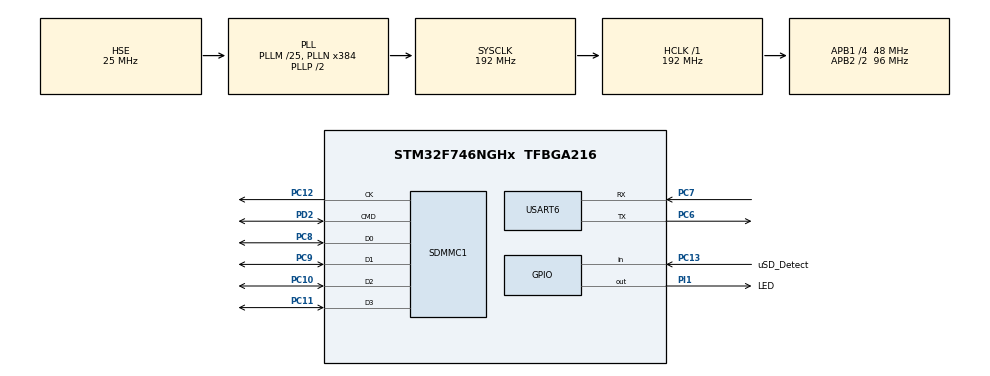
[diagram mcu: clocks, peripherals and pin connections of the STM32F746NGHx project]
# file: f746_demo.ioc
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FATFS.BSP.number=1
FATFS._MAX_SS=4096
FATFS0.BSP.STBoard=false
FATFS0.BSP.api=Unknown
FATFS0.BSP.i2caddr=0
FATFS0.BSP.instance=PC13
FATFS0.BSP.ip=GPIO
FATFS0.BSP.mode=Input
FATFS0.BSP.name=Detect_SDIO
FATFS0.BSP.solution=PC13
Mcu.Family=STM32F7
Mcu.Name=STM32F746NGHx
Mcu.Package=TFBGA216
NVIC.PriorityGroup=NVIC_PRIORITYGROUP_4
NVIC.SDMMC1_IRQn=true\:0\:0\:false\:false\:true\:true\:true
PC10.Mode=SD_4_bits_Wide_bus
PC10.Signal=SDMMC1_D2
PC11.Mode=SD_4_bits_Wide_bus
PC11.Signal=SDMMC1_D3
PC12.Mode=SD_4_bits_Wide_bus
PC12.Signal=SDMMC1_CK
PC13.GPIO_Label=uSD_Detect
PC13.Signal=GPIO_Input
PC6.Mode=Asynchronous
PC6.Signal=USART6_TX
PC7.Mode=Asynchronous
PC7.Signal=USART6_RX
PC8.Mode=SD_4_bits_Wide_bus
PC8.Signal=SDMMC1_D0
PC9.Mode=SD_4_bits_Wide_bus
PC9.Signal=SDMMC1_D1
PD2.Mode=SD_4_bits_Wide_bus
PD2.Signal=SDMMC1_CMD
PH0/OSC_IN.Mode=HSE-External-Oscillator
PH0/OSC_IN.Signal=RCC_OSC_IN
PH1/OSC_OUT.Mode=HSE-External-Oscillator
PH1/OSC_OUT.Signal=RCC_OSC_OUT
PI1.GPIO_Label=LED
PI1.Signal=GPIO_Output
ProjectManager.HeapSize=0x2000
ProjectManager.StackSize=0x4000
ProjectManager.TargetToolchain=MDK-ARM V5.27
RCC.AHBFreq_Value=192000000
RCC.APB1CLKDivider=RCC_HCLK_DIV4
RCC.APB1Freq_Value=48000000
RCC.APB1TimFreq_Value=96000000
RCC.APB2CLKDivider=RCC_HCLK_DIV2
RCC.APB2Freq_Value=96000000
RCC.APB2TimFreq_Value=192000000
RCC.CortexFreq_Value=192000000
RCC.HCLKFreq_Value=192000000
RCC.HSE_VALUE=25000000
RCC.HSI_VALUE=16000000
RCC.LSE_VALUE=32768
RCC.PLL48CLockSelection=RCC_CLK48SOURCE_PLLSAIP
RCC.PLLI2SN=100
RCC.PLLM=25
RCC.PLLN=384
RCC.PLLQ=8
RCC.PLLSAIN=384
RCC.PLLSAIP=RCC_PLLSAIP_DIV8
RCC.PLLSAIR=5
RCC.PLLSAIRDiv=RCC_PLLSAIDIVR_8
RCC.PLLSourceVirtual=RCC_PLLSOURCE_HSE
RCC.SDMMCClockSelection=RCC_SDMMC1CLKSOURCE_CLK48
RCC.SYSCLKFreq_VALUE=192000000
RCC.SYSCLKSource=RCC_SYSCLKSOURCE_PLLCLK
RCC.USBFreq_Value=48000000
RCC.VCOOutputFreq_Value=384000000
SDMMC1.ClockBypass=SDMMC_CLOCK_BYPASS_DISABLE
SDMMC1.ClockDiv=6
USART6.VirtualMode-Asynchronous=VM_ASYNC
VP_FATFS_VS_SDIO.Mode=SDIO
board=STM32F746G-DISCO

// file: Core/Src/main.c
/* USER CODE BEGIN Header */
/**
  ******************************************************************************
  * @file           : main.c
  * @brief          : Main program body
  ******************************************************************************
  * @attention
  *
  * <h2><center>&copy; Copyright (c) 2022 STMicroelectronics.
  * All rights reserved.</center></h2>
  *
  * This software component is licensed by ST under Ultimate Liberty license
  * SLA0044, the "License"; You may not use this file except in compliance with
  * the License. You may obtain a copy of the License at:
  *                             www.st.com/SLA0044
  *
  ******************************************************************************
  */
/* USER CODE END Header */
#include "main.h"
#include "fatfs.h"

/* USER CODE BEGIN PD */
#define LED(x) ((x)? (GPIOI->BSRR=GPIO_BSRR_BS_1) : (GPIOI->BSRR=GPIO_BSRR_BR_1));
/* USER CODE END PD */

SD_HandleTypeDef hsd1;

UART_HandleTypeDef huart6;

/* USER CODE BEGIN PV */
char UART_msg_TX [50]; //буффер сообщений UARTS
/* USER CODE END PV */

void SystemClock_Config(void);
static void MX_GPIO_Init(void);
static void MX_SDMMC1_SD_Init(void);
static void MX_USART6_UART_Init(void);
/* USER CODE BEGIN PFP */
void UART6_SendByte(char );
void UART6_SendString (const char * );
/* USER CODE END PFP */

int main(void)
{

  /* MCU Configuration--------------------------------------------------------*/

  /* Reset of all peripherals, Initializes the Flash interface and the Systick. */
  HAL_Init();

  /* USER CODE BEGIN Init */
	__enable_irq(); //включение всех прерываний
  /* USER CODE END Init */

  /* Configure the system clock */
  SystemClock_Config();

  /* Initialize all configured peripherals */
  MX_GPIO_Init();
  MX_SDMMC1_SD_Init();
  MX_USART6_UART_Init();
  MX_FATFS_Init();
  /* USER CODE BEGIN 2 */
	UART6_SendString ("main programm start\r\n");
  /* USER CODE END 2 */

  /* Infinite loop */
  /* USER CODE BEGIN WHILE */
  while (1)
  {
		LED(1);
		UART6_SendString ("LED_on\r\n");
		HAL_Delay (1000);
		LED(0);
		UART6_SendString ("LED_off\r\n");
		HAL_Delay (1000);
    /* USER CODE END WHILE */

  }
}

void SystemClock_Config(void)
{
  RCC_OscInitTypeDef RCC_OscInitStruct = {0};
  RCC_ClkInitTypeDef RCC_ClkInitStruct = {0};
  RCC_PeriphCLKInitTypeDef PeriphClkInitStruct = {0};

  /** Configure the main internal regulator output voltage
  */
  __HAL_RCC_PWR_CLK_ENABLE();
  __HAL_PWR_VOLTAGESCALING_CONFIG(PWR_REGULATOR_VOLTAGE_SCALE1);
  /** Initializes the RCC Oscillators according to the specified parameters
  * in the RCC_OscInitTypeDef structure.
  */
  RCC_OscInitStruct.OscillatorType = RCC_OSCILLATORTYPE_HSE;
  RCC_OscInitStruct.HSEState = RCC_HSE_ON;
  RCC_OscInitStruct.PLL.PLLState = RCC_PLL_ON;
  RCC_OscInitStruct.PLL.PLLSource = RCC_PLLSOURCE_HSE;
  RCC_OscInitStruct.PLL.PLLM = 25;
  RCC_OscInitStruct.PLL.PLLN = 384;
  RCC_OscInitStruct.PLL.PLLP = RCC_PLLP_DIV2;
  RCC_OscInitStruct.PLL.PLLQ = 8;
  if (HAL_RCC_OscConfig(&RCC_OscInitStruct) != HAL_OK)
  {
    Error_Handler();
  }
  /** Activate the Over-Drive mode
  */
  if (HAL_PWREx_EnableOverDrive() != HAL_OK)
  {
    Error_Handler();
  }
  /** Initializes the CPU, AHB and APB buses clocks
  */
  RCC_ClkInitStruct.ClockType = RCC_CLOCKTYPE_HCLK|RCC_CLOCKTYPE_SYSCLK
                              |RCC_CLOCKTYPE_PCLK1|RCC_CLOCKTYPE_PCLK2;
  RCC_ClkInitStruct.SYSCLKSource = RCC_SYSCLKSOURCE_PLLCLK;
  RCC_ClkInitStruct.AHBCLKDivider = RCC_SYSCLK_DIV1;
  RCC_ClkInitStruct.APB1CLKDivider = RCC_HCLK_DIV4;
  RCC_ClkInitStruct.APB2CLKDivider = RCC_HCLK_DIV2;

  if (HAL_RCC_ClockConfig(&RCC_ClkInitStruct, FLASH_LATENCY_6) != HAL_OK)
  {
    Error_Handler();
  }
  PeriphClkInitStruct.PeriphClockSelection = RCC_PERIPHCLK_USART6|RCC_PERIPHCLK_SDMMC1
                              |RCC_PERIPHCLK_CLK48;
  PeriphClkInitStruct.PLLSAI.PLLSAIN = 384;
  PeriphClkInitStruct.PLLSAI.PLLSAIR = 5;
  PeriphClkInitStruct.PLLSAI.PLLSAIQ = 2;
  PeriphClkInitStruct.PLLSAI.PLLSAIP = RCC_PLLSAIP_DIV8;
  PeriphClkInitStruct.PLLSAIDivQ = 1;
  PeriphClkInitStruct.PLLSAIDivR = RCC_PLLSAIDIVR_8;
  PeriphClkInitStruct.Usart6ClockSelection = RCC_USART6CLKSOURCE_PCLK2;
  PeriphClkInitStruct.Clk48ClockSelection = RCC_CLK48SOURCE_PLLSAIP;
  PeriphClkInitStruct.Sdmmc1ClockSelection = RCC_SDMMC1CLKSOURCE_CLK48;
  if (HAL_RCCEx_PeriphCLKConfig(&PeriphClkInitStruct) != HAL_OK)
  {
    Error_Handler();
  }
}

static void MX_SDMMC1_SD_Init(void)
{

  hsd1.Instance = SDMMC1;
  hsd1.Init.ClockEdge = SDMMC_CLOCK_EDGE_RISING;
  hsd1.Init.ClockBypass = SDMMC_CLOCK_BYPASS_DISABLE;
  hsd1.Init.ClockPowerSave = SDMMC_CLOCK_POWER_SAVE_DISABLE;
  hsd1.Init.BusWide = SDMMC_BUS_WIDE_1B;
  hsd1.Init.HardwareFlowControl = SDMMC_HARDWARE_FLOW_CONTROL_DISABLE;
  hsd1.Init.ClockDiv = 6;

}

static void MX_USART6_UART_Init(void)
{

  huart6.Instance = USART6;
  huart6.Init.BaudRate = 115200;
  huart6.Init.WordLength = UART_WORDLENGTH_8B;
  huart6.Init.StopBits = UART_STOPBITS_1;
  huart6.Init.Parity = UART_PARITY_NONE;
  huart6.Init.Mode = UART_MODE_TX_RX;
  huart6.Init.HwFlowCtl = UART_HWCONTROL_NONE;
  huart6.Init.OverSampling = UART_OVERSAMPLING_16;
  huart6.Init.OneBitSampling = UART_ONE_BIT_SAMPLE_DISABLE;
  huart6.AdvancedInit.AdvFeatureInit = UART_ADVFEATURE_NO_INIT;
  if (HAL_UART_Init(&huart6) != HAL_OK)
  {
    Error_Handler();
  }

}

static void MX_GPIO_Init(void)
{
  GPIO_InitTypeDef GPIO_InitStruct = {0};

  /* GPIO Ports Clock Enable */
  __HAL_RCC_GPIOC_CLK_ENABLE();
  __HAL_RCC_GPIOD_CLK_ENABLE();
  __HAL_RCC_GPIOI_CLK_ENABLE();
  __HAL_RCC_GPIOH_CLK_ENABLE();

  /*Configure GPIO pin Output Level */
  HAL_GPIO_WritePin(LED_GPIO_Port, LED_Pin, GPIO_PIN_RESET);

  /*Configure GPIO pin : uSD_Detect_Pin */
  GPIO_InitStruct.Pin = uSD_Detect_Pin;
  GPIO_InitStruct.Mode = GPIO_MODE_INPUT;
  GPIO_InitStruct.Pull = GPIO_NOPULL;
  HAL_GPIO_Init(uSD_Detect_GPIO_Port, &GPIO_InitStruct);

  /*Configure GPIO pin : LED_Pin */
  GPIO_InitStruct.Pin = LED_Pin;
  GPIO_InitStruct.Mode = GPIO_MODE_OUTPUT_PP;
  GPIO_InitStruct.Pull = GPIO_NOPULL;
  GPIO_InitStruct.Speed = GPIO_SPEED_FREQ_LOW;
  HAL_GPIO_Init(LED_GPIO_Port, &GPIO_InitStruct);

}

/* USER CODE BEGIN 4 */
//****************************************************************************************************************************************************//
void UART6_SendByte(char b)
{
	int timeout = 300000;
	while ((USART6->ISR & UART_FLAG_TXE) == (uint16_t)RESET)
	{
		if(timeout --== 0){
			return;}
	}
	if ((USART6->ISR & USART_ISR_TC) == USART_ISR_TC) {
		USART6->TDR = (b & (uint16_t)0x01FF);} /// Transmit Data
	while ((USART6->ISR & UART_FLAG_TC) == (uint16_t)RESET){}	//wait for trasmit
}

//****************************************************************************************************************************************************//
void UART6_SendString (const char * text)
{
	while(*text)
	{
		UART6_SendByte(*text);
		text++;
	}
}
//****************************************************************************************************************************************************//
/* USER CODE END 4 */

void Error_Handler(void)
{
  __disable_irq();
  while (1)
  {
  }
}

/************************ (C) COPYRIGHT STMicroelectronics *****END OF FILE****/
